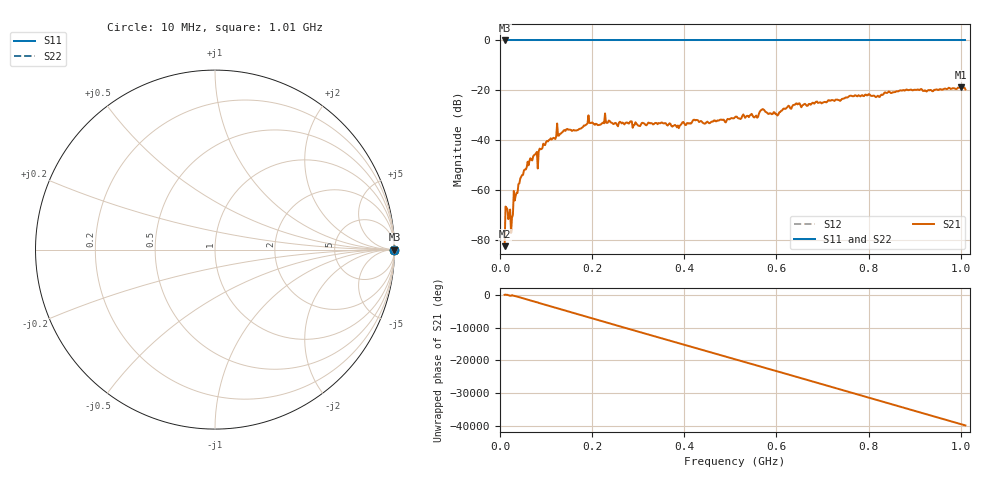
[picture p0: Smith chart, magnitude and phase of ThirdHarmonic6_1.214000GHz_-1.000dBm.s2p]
! 8/16/2025 12:41:01 PM
! C:\ANRITSUVNA\TEMP\TEMP.S2P
! CHANNEL.1
! TR.MEASUREMENT
! RAW.DATA
! RF.CORRECTION.OFF
! AVERAGING.OFF
! IF.BANDWIDTH: 5KHZ
! SWEEPTYPE:  FREQ.SWEEP(Linear)
! Reference Plane Port Info
! PORT:  PORT1  PORT2
! DISTANCE:  0  m  0  m
! TIME:  0  s  0  s
! PHASE.OFFSET:  0  deg.  0  deg.
! LOSS:  0  dB  0  dB
! REF.LOSS:  0  dB  0  dB
! REF.FREQ:  0  Hz  0  Hz
! Power Info
! POWER:  -20  dBm  -20  dBm
! EFF.POWER:  -20  dBm  -20  dBm
! SOURCE.ATTEN:  0  dB  0  dB
! TEST.ATTEN:  0  dB  0  dB
# GHZ S RI R 50.0
! FREQ.GHZ  S11RE  S11IM  S21RE  S21IM  S12RE  S12IM  S22RE  S22IM
!; PortSelection: Port_12
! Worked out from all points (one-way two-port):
!   501 points, 10 MHz to 1.01 GHz, reference 50 ohm
!   highest |S21| = -18.72 dB at 1 GHz (marker M1); lowest = -82.3 dB at 10 MHz (marker M2)
!   lowest |S11| = 0.0 dB at 10 MHz (marker M3)
!   |S11| at or under -10 dB: nowhere
!   |S22| runs from 0.0 to 0.0 dB; largest |S21 - S12| = 1.1
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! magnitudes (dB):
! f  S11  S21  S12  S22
! 10 MHz  0.0  -82.3  0.0  0.0
! 16 MHz  0.0  -67.5  0.0  0.0
! 24 MHz  0.0  -77.0  0.0  0.0
! 34 MHz  0.0  -62.1  0.0  0.0
! 44 MHz  0.0  -55.2  0.0  0.0
! 64 MHz  0.0  -48.1  0.0  0.0
! 128 MHz  0.0  -38.1  0.0  0.0
! 178 MHz  0.0  -34.9  0.0  0.0
! 194 MHz  0.0  -33.0  0.0  0.0
! 216 MHz  0.0  -33.7  0.0  0.0
! 232 MHz  0.0  -33.0  0.0  0.0
! 344 MHz  0.0  -33.1  0.0  0.0
! 386 MHz  0.0  -34.0  0.0  0.0
! 510 MHz  0.0  -30.7  0.0  0.0
! 556 MHz  0.0  -30.1  0.0  0.0
! 570 MHz  0.0  -27.5  0.0  0.0
! 602 MHz  0.0  -30.0  0.0  0.0
! 640 MHz  0.0  -25.7  0.0  0.0
! 678 MHz  0.0  -24.9  0.0  0.0
! 844 MHz  0.0  -20.4  0.0  0.0
! 1 GHz  0.0  -18.7  0.0  0.0
! 1.01 GHz  0.0  -19.6  0.0  0.0
